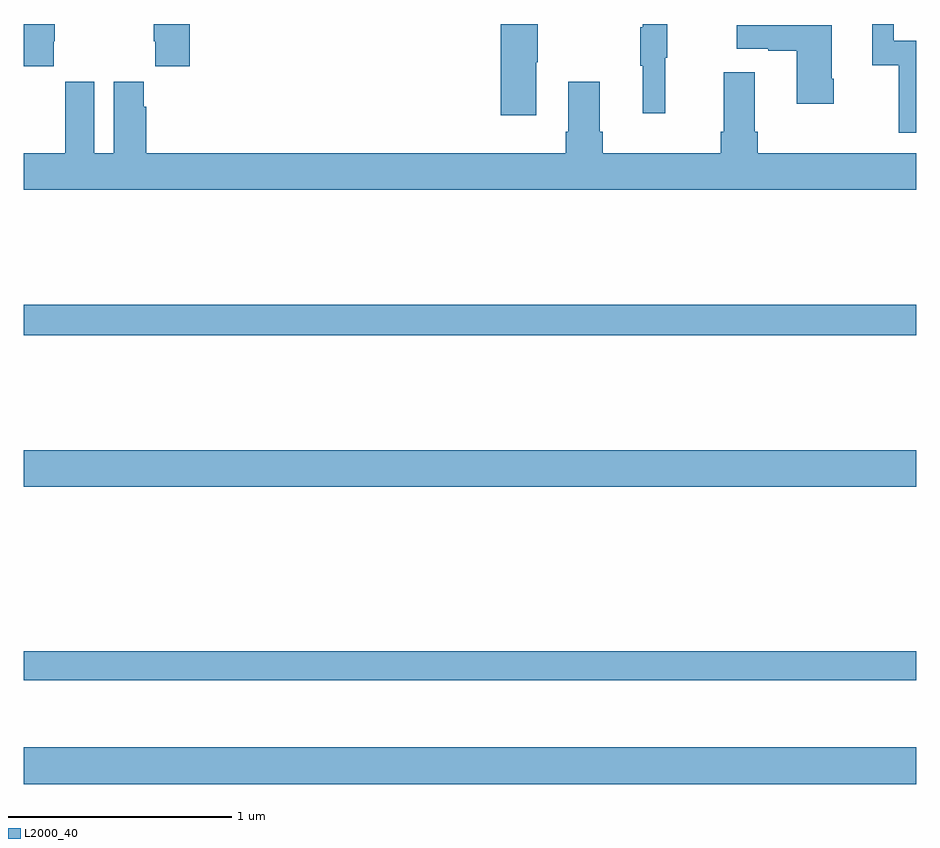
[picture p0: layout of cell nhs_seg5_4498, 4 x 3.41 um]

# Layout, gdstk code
import gdstk
lib = gdstk.Library(unit=1e-6, precision=1e-09)
def R(c, l, rs):  # rectangles x0, y0, x1, y1
    for r in rs: c.add(gdstk.rectangle(r[:2], r[2:], *l))
def P(c, l, *ps):  # polygons
    for p in ps: c.add(gdstk.Polygon(p, *l))
L2000_40 = (2000, 40)

nhs_seg5_4498 = lib.new_cell('nhs_seg5_4498')
R(nhs_seg5_4498, L2000_40, [(375,891.392,379,891.556), (375,891.858,379,891.986), (375,892.724,379,892.888), (375,893.404,379,893.54)])
P(nhs_seg5_4498, L2000_40, [(375.135,894.721),(375.138,894.721),(375.138,894.799),(375,894.799),(375,894.609),(375.135,894.609)],
  [(375.743,894.799),(375.583,894.799),(375.583,894.721),(375.589,894.721),(375.589,894.609),(375.743,894.609)],
  [(379,894.723),(378.9,894.723),(378.9,894.799),(378.803,894.799),(378.803,894.615),(378.921,894.615),(378.921,894.312),(379,894.312)],
  [(377.876,894.648),(377.884,894.648),(377.884,894.799),(377.774,894.799),(377.774,894.785),(377.763,894.785),(377.763,894.611),(377.774,894.611),(377.774,894.399),(377.876,894.399)],
  [(377.296,894.628),(377.304,894.628),(377.304,894.799),(377.138,894.799),(377.138,894.39),(377.296,894.39)],
  [(378.63,894.553),(378.622,894.553),(378.622,894.793),(378.195,894.793),(378.195,894.689),(378.338,894.689),(378.338,894.679),(378.464,894.679),(378.464,894.441),(378.63,894.441)],
  [(379,894.22),(378.29,894.22),(378.29,894.316),(378.277,894.316),(378.277,894.583),(378.137,894.583),(378.137,894.316),(378.125,894.316),(378.125,894.22),(377.594,894.22),(377.594,894.316),(377.581,894.316),(377.581,894.541),(377.441,894.541),(377.441,894.316),(377.429,894.316),(377.429,894.22),(375.548,894.22),(375.548,894.428),(375.538,894.428),(375.538,894.541),(375.404,894.541),(375.404,894.22),(375.316,894.22),(375.316,894.541),(375.186,894.541),(375.186,894.428),(375.185,894.428),(375.185,894.22),(375,894.22),(375,894.056),(379,894.056)])

lib.write_gds('nhs_seg5_4498.gds')
